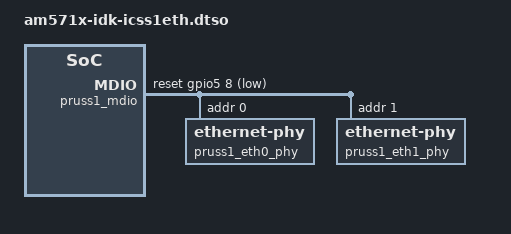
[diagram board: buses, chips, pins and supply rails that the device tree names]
// SPDX-License-Identifier: GPL-2.0
/*
 * Copyright (C) 2019 Texas Instruments Incorporated - http://www.ti.com/
 */

/dts-v1/;
/plugin/;
#include <dt-bindings/gpio/gpio.h>
#include <dt-bindings/interrupt-controller/irq.h>

/ {
  fragment@101 {
	target-path = "/";

	__overlay__ {

		aliases {
			ethernet4 = "/pruss1_eth/ethernet-mii0";
			ethernet5 = "/pruss1_eth/ethernet-mii1";
		};

		/* Dual mac ethernet application node on icss1 */
		pruss1_eth: pruss1_eth {
			status = "okay";
			compatible = "ti,am57-prueth";
			prus = <&pru1_0>, <&pru1_1>;
			firmware-name = "ti-pruss/am57xx-pru0-prueth-fw.elf",
					"ti-pruss/am57xx-pru1-prueth-fw.elf";
			ti,pruss-gp-mux-sel = <0>,	/* GP, default */
					      <4>;	/* MII2, needed for PRUSS1_MII1 */
			sram = <&ocmcram1>;
			interrupt-parent = <&pruss1_intc>;
			mii-rt = <&pruss1_mii_rt>;
			interrupts = <20>, <21>;
			interrupt-names = "rx_red_hp", "rx_red_lp";

			ethernet-mii0 {
				phy-handle = <&pruss1_eth0_phy>;
				phy-mode = "mii";
				interrupts = <20>, <22>, <23>, <26>;
				interrupt-names = "rx", "tx", "hsrprp_ptp_tx",
					  "emac_ptp_tx";
				/* Filled in by bootloader */
				local-mac-address = [00 00 00 00 00 00];
			};

			ethernet-mii1 {
				phy-handle = <&pruss1_eth1_phy>;
				phy-mode = "mii";
				interrupts = <21>, <23>, <24>, <27>;
				interrupt-names = "rx", "tx", "hsrprp_ptp_tx",
					  "emac_ptp_tx";
				/* Filled in by bootloader */
				local-mac-address = [00 00 00 00 00 00];
			};
		};
	};
  };
};

&pruss1_mdio {
	status = "okay";
	reset-gpios = <&gpio5 8 GPIO_ACTIVE_LOW>;
	reset-delay-us = <2>;   /* PHY datasheet states 1uS min */
	pruss1_eth0_phy: ethernet-phy@0 {
		reg = <0>;
	};

	pruss1_eth1_phy: ethernet-phy@1 {
		reg = <1>;
	};
};

&pruss2_eth {
	ti,pruss-gp-mux-sel = <4>,	/* MII2, needed for PRUSS1_MII0 */
			      <4>;	/* MII2, needed for PRUSS1_MII1 */
};
